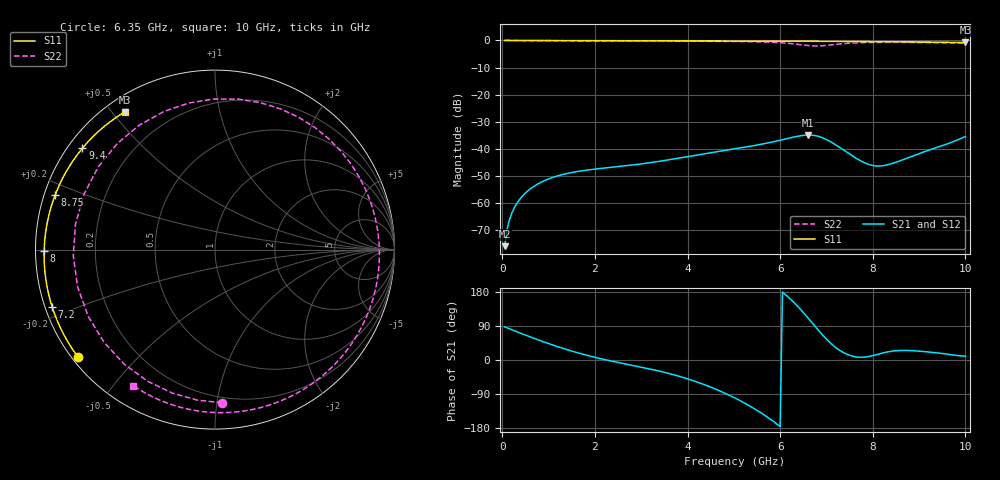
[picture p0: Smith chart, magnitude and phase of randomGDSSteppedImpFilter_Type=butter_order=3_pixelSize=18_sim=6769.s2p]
! freq	dB(S11)	phase(S11)	dB(S12)	phase(S12)
!  dB(S21)	phase(S21)	dB(S22)	phase(S22)
!S-par simulation data
#  GHz  S  DB  R 50
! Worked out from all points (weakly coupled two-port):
!   200 points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, 50 MHz to 10 GHz, reference 50 ohm
!   highest |S21| = -34.97 dB at 6.6 GHz (marker M1); lowest = -76.1 dB at 50 MHz (marker M2)
!   lowest |S11| = -0.8 dB at 10 GHz (marker M3), VSWR 23.13, Z = 2.79 + j26.9 ohm
!   |S11| at or under -10 dB: nowhere
!   |S22| runs from -2.0 to 0.0 dB; largest |S21 - S12| = 0
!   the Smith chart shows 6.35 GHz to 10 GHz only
!   S11 on the Smith chart (normalised r, x): 6.35 GHz: 0.02, -0.34; 7.2 GHz: 0.02, -0.17; 8 GHz: 0.02, -0.00; 8.75 GHz: 0.03, +0.16; 9.4 GHz: 0.04, +0.34; 10 GHz: 0.06, +0.54
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0.05  -0.00 -1.2  -76.06 87.5  -76.06 87.5  -0.00 -3.7
0.2  -0.01 -4.9  -64.08 80.1  -64.08 80.1  -0.02 -14.8
0.5  -0.02 -12.1  -56.39 65.7  -56.39 65.7  -0.05 -36.7
1.1  -0.03 -26.5  -50.58 39.1  -50.58 39.1  -0.09 -78.1
1.75  -0.05 -41.8  -48.11 14.9  -48.11 14.9  -0.13 -118.8
2.6  -0.08 -61.3  -46.47 -8.9  -46.47 -8.9  -0.17 -166.7
3.4  -0.10 -79.1  -44.66 -29.5  -44.66 -29.5  -0.21 150.1
4.3  -0.14 -98.6  -42.08 -62.2  -42.08 -62.2  -0.27 99.1
5.05  -0.18 -114.5  -39.98 -102.0  -39.98 -102.0  -0.37 50.4
5.8  -0.22 -130.3  -37.65 -157.2  -37.65 -157.2  -0.66 -12.7
6.1  -0.25 -136.7  -36.49 174.0  -36.49 174.0  -0.95 -48.0
6.35  -0.27 -142.0  -35.51 145.3  -35.51 145.3  -1.37 -87.3
6.6  -0.29 -147.4  -34.97 111.4  -34.97 111.4  -1.88 -140.1
6.7  -0.29 -149.6  -35.05 96.8  -35.05 96.8  -2.01 -164.8
6.95  -0.32 -155.1  -36.24 61.4  -36.24 61.4  -1.90 132.6
7.2  -0.34 -160.7  -38.60 33.0  -38.60 33.0  -1.43 81.4
7.55  -0.38 -168.7  -42.57 10.5  -42.57 10.5  -0.96 32.0
8  -0.43 -179.5  -46.23 11.5  -46.23 11.5  -0.73 -9.8
8.35  -0.47 171.8  -45.84 22.1  -45.84 22.1  -0.68 -34.4
8.75  -0.53 161.3  -43.46 25.2  -43.46 25.2  -0.71 -58.1
9.4  -0.63 142.7  -39.44 18.6  -39.44 18.6  -0.85 -91.7
10  -0.75 123.3  -35.53 10.1  -35.53 10.1  -1.07 -120.9
